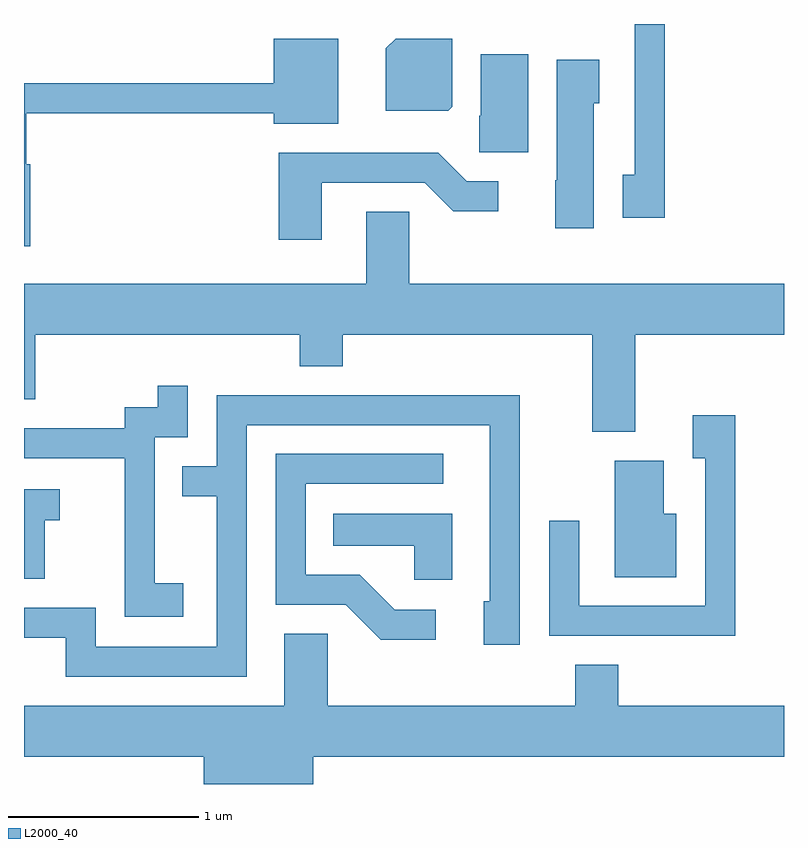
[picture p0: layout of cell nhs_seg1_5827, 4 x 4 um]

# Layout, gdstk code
import gdstk
lib = gdstk.Library(unit=1e-6, precision=1e-09)
def P(c, l, *ps):  # polygons
    for p in ps: c.add(gdstk.Polygon(p, *l))
L2000_40 = (2000, 40)

nhs_seg1_5827 = lib.new_cell('nhs_seg1_5827')
P(nhs_seg1_5827, L2000_40, [(364.984,845.712),(364.826,845.712),(364.826,844.919),(364.761,844.919),(364.761,844.691),(364.984,844.691)],
  [(363.864,845.277),(363.864,845.634),(363.567,845.634),(363.516,845.584),(363.516,845.256),(363.844,845.256)],
  [(361.644,844.974),(361.624,844.974),(361.624,845.241),(362.926,845.241),(362.926,845.186),(363.264,845.186),(363.264,845.634),(362.926,845.634),(362.926,845.399),(361.611,845.399),(361.611,844.541),(361.644,844.541)],
  [(364.264,845.554),(364.016,845.554),(364.016,845.23),(364.006,845.23),(364.006,845.036),(364.264,845.036)],
  [(364.609,845.296),(364.639,845.296),(364.639,845.524),(364.416,845.524),(364.416,844.89),(364.406,844.89),(364.406,844.636),(364.609,844.636)],
  [(363.179,844.876),(363.719,844.876),(363.869,844.726),(364.108,844.726),(364.108,844.884),(363.942,844.884),(363.792,845.034),(362.951,845.034),(362.951,844.576),(363.179,844.576)],
  [(364.829,844.076),(365.611,844.076),(365.611,844.344),(363.639,844.344),(363.639,844.724),(363.411,844.724),(363.411,844.344),(361.611,844.344),(361.611,843.736),(361.669,843.736),(361.669,844.076),(363.061,844.076),(363.061,843.911),(363.289,843.911),(363.289,844.076),(364.601,844.076),(364.601,843.566),(364.829,843.566)],
  [(362.449,842.769),(362.299,842.769),(362.299,843.536),(362.474,843.536),(362.474,843.808),(362.316,843.808),(362.316,843.694),(362.141,843.694),(362.141,843.584),(361.611,843.584),(361.611,843.426),(362.141,843.426),(362.141,842.591),(362.449,842.591)],
  [(362.784,843.601),(364.061,843.601),(364.061,842.674),(364.031,842.674),(364.031,842.446),(364.219,842.446),(364.219,843.759),(362.626,843.759),(362.626,843.384),(362.443,843.384),(362.443,843.226),(362.626,843.226),(362.626,842.434),(361.989,842.434),(361.989,842.639),(361.611,842.639),(361.611,842.481),(361.831,842.481),(361.831,842.276),(362.784,842.276)],
  [(365.354,843.654),(365.131,843.654),(365.131,843.426),(365.196,843.426),(365.196,842.649),(364.534,842.649),(364.534,843.098),(364.376,843.098),(364.376,842.491),(365.354,842.491)],
  [(363.778,842.629),(363.562,842.629),(363.377,842.814),(363.094,842.814),(363.094,843.291),(363.818,843.291),(363.818,843.449),(362.936,843.449),(362.936,842.656),(363.304,842.656),(363.489,842.471),(363.778,842.471)],
  [(365.044,843.134),(364.979,843.134),(364.979,843.414),(364.721,843.414),(364.721,842.801),(365.044,842.801)],
  [(361.719,843.101),(361.798,843.101),(361.798,843.264),(361.611,843.264),(361.611,842.791),(361.719,842.791)],
  [(363.864,843.134),(363.238,843.134),(363.238,842.966),(363.666,842.966),(363.666,842.786),(363.864,842.786)],
  [(363.134,841.856),(365.611,841.856),(365.611,842.124),(364.739,842.124),(364.739,842.339),(364.511,842.339),(364.511,842.124),(363.209,842.124),(363.209,842.504),(362.981,842.504),(362.981,842.124),(361.611,842.124),(361.611,841.856),(362.556,841.856),(362.556,841.712),(363.134,841.712)])

lib.write_gds('nhs_seg1_5827.gds')
